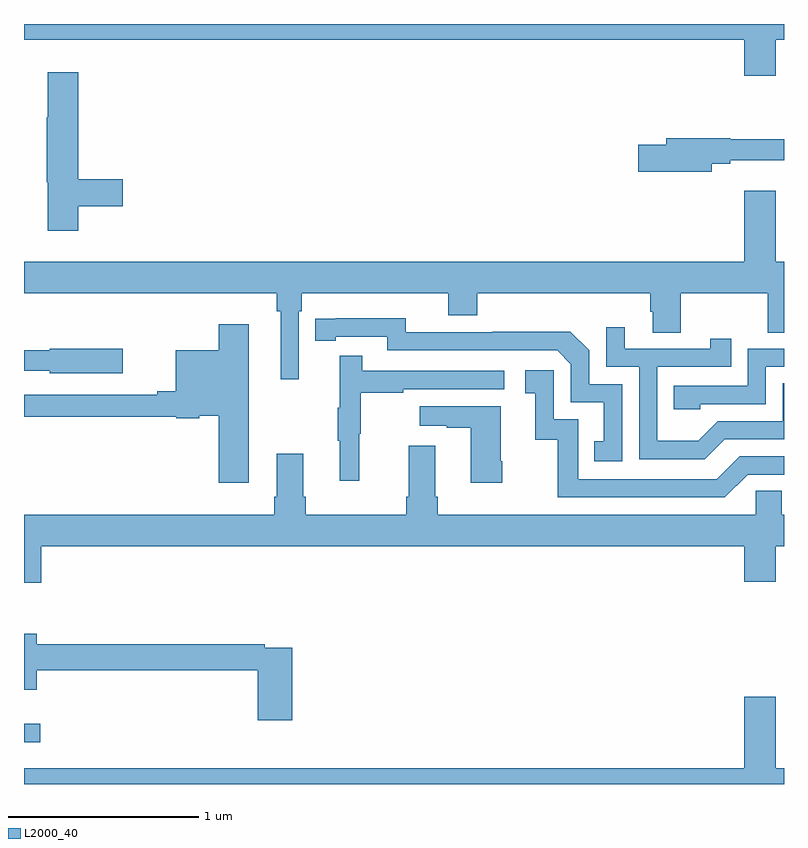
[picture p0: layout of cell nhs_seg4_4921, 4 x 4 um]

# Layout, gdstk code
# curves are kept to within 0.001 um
import gdstk
lib = gdstk.Library(unit=1e-6, precision=1e-09)
def R(c, l, rs):  # rectangles x0, y0, x1, y1
    for r in rs: c.add(gdstk.rectangle(r[:2], r[2:], *l))
def P(c, l, *ps):  # polygons
    for p in ps: c.add(gdstk.Polygon(p, *l))
L2000_40 = (2000, 40)

nhs_seg4_4921 = lib.new_cell('nhs_seg4_4921')
R(nhs_seg4_4921, L2000_40, [(377,797.12,377.086,797.217)])
P(nhs_seg4_4921, L2000_40, [(380.956,800.816),(381,800.816),(381,800.9),(377,800.9),(377,800.816),(380.792,800.816),(380.792,800.628),(380.956,800.628)],
  [(377.285,799.942),(377.521,799.942),(377.521,800.084),(377.285,800.084),(377.285,800.647),(377.126,800.647),(377.126,800.408),(377.119,800.408),(377.119,800.067),(377.126,800.067),(377.126,799.812),(377.285,799.812)],
  [(380.62,800.164),(380.716,800.164),(380.716,800.183),(381,800.183),(381,800.293),(380.716,800.293),(380.716,800.3),(380.381,800.3),(380.381,800.264),(380.232,800.264),(380.232,800.122),(380.62,800.122)],
  [(378.447,799.388),(378.461,799.388),(378.461,799.484),(379.232,799.484),(379.232,799.367),(379.385,799.367),(379.385,799.484),(380.297,799.484),(380.297,799.386),(380.309,799.386),(380.309,799.276),(380.457,799.276),(380.457,799.484),(380.914,799.484),(380.914,799.276),(381,799.276),(381,799.648),(380.956,799.648),(380.956,800.023),(380.792,800.023),(380.792,799.648),(377,799.648),(377,799.484),(378.331,799.484),(378.331,799.388),(378.35,799.388),(378.35,799.029),(378.447,799.029)],
  [(380.148,799.005),(379.974,799.005),(379.974,799.182),(379.876,799.28),(379.468,799.28),(379.468,799.278),(379.008,799.278),(379.008,799.351),(378.532,799.35),(378.532,799.234),(378.64,799.234),(378.64,799.254),(378.912,799.254),(378.912,799.182),(379.806,799.182),(379.878,799.11),(379.878,798.909),(380.051,798.909),(380.051,798.705),(380.002,798.705),(380.002,798.6),(380.148,798.6)],
  [(378.184,799.321),(378.026,799.321),(378.026,799.183),(377.798,799.183),(377.798,798.968),(377.702,798.968),(377.702,798.948),(377,798.948),(377,798.832),(377.802,798.832),(377.802,798.824),(377.922,798.824),(377.922,798.839),(378.026,798.839),(378.026,798.486),(378.184,798.486)],
  [(380.689,798.714),(381,798.714),(381,799.009),(380.994,799.009),(380.994,798.81),(380.652,798.81),(380.548,798.706),(380.334,798.706),(380.334,799.095),(380.723,799.095),(380.723,799.243),(380.612,799.243),(380.612,799.191),(380.161,799.191),(380.161,799.303),(380.064,799.303),(380.064,799.095),(380.238,799.095),(380.238,798.609),(380.584,798.609)],
  [(380.559,798.9),(380.904,798.9),(380.904,799.095),(381,799.095),(381,799.191),(380.808,799.191),(380.808,798.996),(380.419,798.996),(380.419,798.873),(380.559,798.873)],
  [(377.521,799.191),(377.136,799.191),(377.136,799.183),(377,799.183),(377,799.074),(377.136,799.074),(377.136,799.061),(377.521,799.061)],
  [(378.764,798.744),(378.772,798.744),(378.772,798.958),(378.995,798.958),(378.995,798.978),(379.528,798.978),(379.528,799.074),(378.779,799.074),(378.779,799.153),(378.662,799.153),(378.662,798.881),(378.651,798.881),(378.651,798.707),(378.662,798.707),(378.662,798.495),(378.764,798.495)],
  [(380.808,798.528),(381,798.528),(381,798.624),(380.766,798.624),(380.646,798.504),(379.917,798.504),(379.917,798.819),(379.788,798.819),(379.788,799.078),(379.638,799.078),(379.638,798.957),(379.691,798.957),(379.691,798.711),(379.809,798.711),(379.809,798.408),(380.688,798.408)],
  [(379.518,798.598),(379.51,798.598),(379.51,798.889),(379.083,798.889),(379.083,798.785),(379.226,798.785),(379.226,798.775),(379.352,798.775),(379.352,798.486),(379.518,798.486)],
  [(377.09,798.152),(380.792,798.152),(380.792,797.964),(380.956,797.964),(380.956,798.152),(381,798.152),(381,798.316),(380.989,798.316),(380.989,798.443),(380.85,798.443),(380.85,798.316),(379.178,798.316),(379.178,798.412),(379.165,798.412),(379.165,798.679),(379.025,798.679),(379.025,798.412),(379.013,798.412),(379.013,798.316),(378.482,798.316),(378.482,798.412),(378.469,798.412),(378.469,798.637),(378.329,798.637),(378.329,798.412),(378.317,798.412),(378.317,798.316),(377,798.316),(377,797.958),(377.09,797.958)],
  [(378.413,797.616),(378.266,797.616),(378.266,797.636),(377.068,797.636),(377.068,797.692),(377,797.692),(377,797.396),(377.068,797.396),(377.068,797.5),(378.23,797.5),(378.23,797.235),(378.413,797.235)],
  [(381,796.984),(380.956,796.984),(380.956,797.359),(380.792,797.359),(380.792,796.984),(377,796.984),(377,796.9),(381,796.9)])

lib.write_gds('nhs_seg4_4921.gds')
